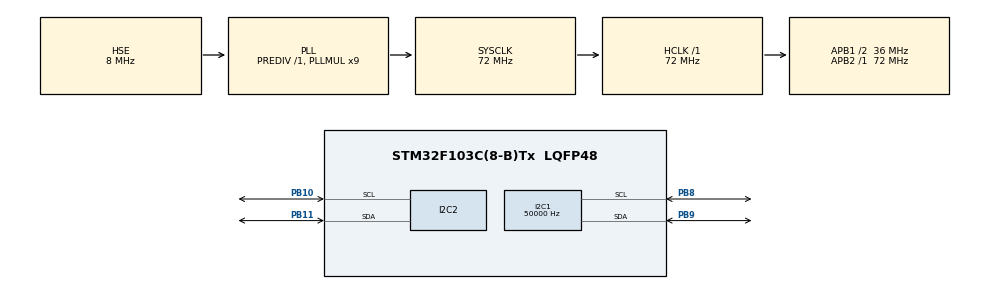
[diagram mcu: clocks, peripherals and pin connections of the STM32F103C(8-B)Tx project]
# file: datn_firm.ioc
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I2C1.ClockSpeed=50000
I2C2.I2C_Mode=I2C_Fast
Mcu.Family=STM32F1
Mcu.Name=STM32F103C(8-B)Tx
Mcu.Package=LQFP48
NVIC.PriorityGroup=NVIC_PRIORITYGROUP_4
PA13.Mode=Serial_Wire
PA13.Signal=SYS_JTMS-SWDIO
PA14.Mode=Serial_Wire
PA14.Signal=SYS_JTCK-SWCLK
PB10.Mode=I2C
PB10.Signal=I2C2_SCL
PB11.Mode=I2C
PB11.Signal=I2C2_SDA
PB8.Mode=I2C
PB8.Signal=I2C1_SCL
PB9.Mode=I2C
PB9.Signal=I2C1_SDA
PD0-OSC_IN.Mode=HSE-External-Oscillator
PD0-OSC_IN.Signal=RCC_OSC_IN
PD1-OSC_OUT.Mode=HSE-External-Oscillator
PD1-OSC_OUT.Signal=RCC_OSC_OUT
ProjectManager.HeapSize=0x200
ProjectManager.StackSize=0x400
ProjectManager.TargetToolchain=MDK-ARM V5.27
RCC.AHBFreq_Value=72000000
RCC.APB1CLKDivider=RCC_HCLK_DIV2
RCC.APB1Freq_Value=36000000
RCC.APB1TimFreq_Value=72000000
RCC.APB2Freq_Value=72000000
RCC.APB2TimFreq_Value=72000000
RCC.HCLKFreq_Value=72000000
RCC.PLLMUL=RCC_PLL_MUL9
RCC.PLLSourceVirtual=RCC_PLLSOURCE_HSE
RCC.SYSCLKFreq_VALUE=72000000
RCC.SYSCLKSource=RCC_SYSCLKSOURCE_PLLCLK
RCC.USBFreq_Value=72000000
board=custom

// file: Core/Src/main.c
/* USER CODE BEGIN Header */
/**
  ******************************************************************************
  * @file           : main.c
  * @brief          : Main program body
  ******************************************************************************
  * @attention
  *
  * <h2><center>&copy; Copyright (c) 2023 STMicroelectronics.
  * All rights reserved.</center></h2>
  *
  * This software component is licensed by ST under BSD 3-Clause license,
  * the "License"; You may not use this file except in compliance with the
  * License. You may obtain a copy of the License at:
  *                        opensource.org/licenses/BSD-3-Clause
  *
  ******************************************************************************
  */
/* USER CODE END Header */
#include "main.h"

/* USER CODE BEGIN Includes */
#include <string.h>
#include <stdio.h>
#include "ssd1306.h"
#include "fonts.h"
#include "test.h"
/* USER CODE END Includes */

/* USER CODE BEGIN PD */
#define SCD30_I2C_ADDR 0x61<<1
#define BUFF_LENGTH 20

/* USER CODE END PD */

I2C_HandleTypeDef hi2c1;
I2C_HandleTypeDef hi2c2;

/* USER CODE BEGIN PV */

uint8_t buff[BUFF_LENGTH] = {0};
HAL_StatusTypeDef ret = HAL_OK;
HAL_StatusTypeDef ret1 = HAL_BUSY;

/* USER CODE END PV */

void SystemClock_Config(void);
static void MX_GPIO_Init(void);
static void MX_I2C1_Init(void);
static void MX_I2C2_Init(void);

/* USER CODE BEGIN 0 */
typedef struct {
 float co2_concen;
	float temperature;
	float humidity;
}SCD30_t;
SCD30_t SCD30;

float convert_sensor(uint8_t* bin,uint8_t i) {
	float tempfloat;
	unsigned int tempU32;
	tempU32 = (unsigned int)((((unsigned int)bin[i]) << 24) |(((unsigned int)bin[i+1]) << 16) |(((unsigned int)bin[i+3]) << 8) |((unsigned int)bin[i+4]));
		tempfloat = *(float*)&tempU32;
    return tempfloat;
}

uint8_t * numberToString(uint16_t val){
	if (val == 0) return (uint8_t *)"0";

	static uint8_t buf[32] = {0};

	int i = 30;

	for(; val && i ; --i, val /= 10)

		buf[i] = "0123456789abcdef"[val % 10];

	return &buf[i+1];

}
/* USER CODE END 0 */

int main(void)
{

  /* MCU Configuration--------------------------------------------------------*/

  /* Reset of all peripherals, Initializes the Flash interface and the Systick. */
  HAL_Init();

  /* Configure the system clock */
  SystemClock_Config();

  /* Initialize all configured peripherals */
  MX_GPIO_Init();
  MX_I2C1_Init();
  MX_I2C2_Init();
  /* USER CODE BEGIN 2 */

	HAL_Delay(3000);
	memset(buff, 0, BUFF_LENGTH);

	buff[0] = 00;
	buff[1] = 10;
	buff[2] = 00;
	buff[3] = 00;
	buff[4] = 81;
	ret = HAL_I2C_Master_Transmit(&hi2c1, SCD30_I2C_ADDR, buff, 5, 1000);
	HAL_Delay(2500);

	memset(buff, 0, BUFF_LENGTH);
	buff[0] = 02;
	buff[1] = 02;
	ret = HAL_I2C_Master_Transmit(&hi2c1, SCD30_I2C_ADDR, buff, 2, 1000);

	for(uint8_t i = 0; i < 5; i++)
	{
		memset(buff, 0, BUFF_LENGTH);
		ret = HAL_I2C_Master_Receive(&hi2c1, SCD30_I2C_ADDR, buff, 3, 1000);
		if ((buff[1] ==  0x01)) break;
		HAL_Delay(1500);
	}

	if (buff[1] == 0x01)
	{
		memset(buff, 0, BUFF_LENGTH);
		buff[0] = 03;
		buff[1] = 00;
		ret = HAL_I2C_Master_Transmit(&hi2c1, SCD30_I2C_ADDR, buff, 2, 1000);
		HAL_Delay(400);

		memset(buff, 0, BUFF_LENGTH);
		ret = HAL_I2C_Master_Receive(&hi2c1, SCD30_I2C_ADDR, buff, 18, 1000);
	}

	SCD30.co2_concen = convert_sensor(buff,0);
	SCD30.temperature = convert_sensor(buff,6);
	SCD30.humidity = convert_sensor(buff,12);

	memset(buff,0,BUFF_LENGTH);
	//sprintf(buff,"%f",SCD30.co2_concen);
		buff[0] = SCD30.co2_concen;

	SSD1306_Init (); // initialize the display
  SSD1306_GotoXY (5,3);
	SSD1306_Puts ("CO2:", &Font_11x18, 1);
	SSD1306_GotoXY (46, 3);
	SSD1306_Puts ((char *)numberToString(SCD30.co2_concen), &Font_11x18, 1);
	SSD1306_GotoXY (90,3);
	SSD1306_Puts ("ppm", &Font_11x18, 1);
	SSD1306_GotoXY (5,22);
	SSD1306_Puts ("T:", &Font_11x18, 1);
	SSD1306_GotoXY (30, 22);
	SSD1306_Puts ((char *)numberToString(SCD30.temperature), &Font_11x18, 1);
	SSD1306_GotoXY (50,18);
	SSD1306_Puts ("o", &Font_7x10, 1);
	SSD1306_GotoXY (60, 22);
	SSD1306_Puts ("C", &Font_11x18, 1);
	SSD1306_GotoXY (5,42);
	SSD1306_Puts ("H:", &Font_11x18, 1);
	SSD1306_GotoXY (30, 42);
	SSD1306_Puts ((char *)numberToString(SCD30.humidity), &Font_11x18, 1);
	SSD1306_GotoXY (50,42);
	SSD1306_Puts ("%", &Font_11x18, 1);
	SSD1306_UpdateScreen(); // update screen

HAL_Delay(2000);

  /* USER CODE END 2 */

  /* Infinite loop */
  while (1)
  {

  }
}

void SystemClock_Config(void)
{
  RCC_OscInitTypeDef RCC_OscInitStruct = {0};
  RCC_ClkInitTypeDef RCC_ClkInitStruct = {0};

  /** Initializes the RCC Oscillators according to the specified parameters
  * in the RCC_OscInitTypeDef structure.
  */
  RCC_OscInitStruct.OscillatorType = RCC_OSCILLATORTYPE_HSE;
  RCC_OscInitStruct.HSEState = RCC_HSE_ON;
  RCC_OscInitStruct.HSEPredivValue = RCC_HSE_PREDIV_DIV1;
  RCC_OscInitStruct.HSIState = RCC_HSI_ON;
  RCC_OscInitStruct.PLL.PLLState = RCC_PLL_ON;
  RCC_OscInitStruct.PLL.PLLSource = RCC_PLLSOURCE_HSE;
  RCC_OscInitStruct.PLL.PLLMUL = RCC_PLL_MUL9;
  if (HAL_RCC_OscConfig(&RCC_OscInitStruct) != HAL_OK)
  {
    Error_Handler();
  }
  /** Initializes the CPU, AHB and APB buses clocks
  */
  RCC_ClkInitStruct.ClockType = RCC_CLOCKTYPE_HCLK|RCC_CLOCKTYPE_SYSCLK
                              |RCC_CLOCKTYPE_PCLK1|RCC_CLOCKTYPE_PCLK2;
  RCC_ClkInitStruct.SYSCLKSource = RCC_SYSCLKSOURCE_PLLCLK;
  RCC_ClkInitStruct.AHBCLKDivider = RCC_SYSCLK_DIV1;
  RCC_ClkInitStruct.APB1CLKDivider = RCC_HCLK_DIV2;
  RCC_ClkInitStruct.APB2CLKDivider = RCC_HCLK_DIV1;

  if (HAL_RCC_ClockConfig(&RCC_ClkInitStruct, FLASH_LATENCY_2) != HAL_OK)
  {
    Error_Handler();
  }
}

static void MX_I2C1_Init(void)
{

  hi2c1.Instance = I2C1;
  hi2c1.Init.ClockSpeed = 50000;
  hi2c1.Init.DutyCycle = I2C_DUTYCYCLE_2;
  hi2c1.Init.OwnAddress1 = 0;
  hi2c1.Init.AddressingMode = I2C_ADDRESSINGMODE_7BIT;
  hi2c1.Init.DualAddressMode = I2C_DUALADDRESS_DISABLE;
  hi2c1.Init.OwnAddress2 = 0;
  hi2c1.Init.GeneralCallMode = I2C_GENERALCALL_DISABLE;
  hi2c1.Init.NoStretchMode = I2C_NOSTRETCH_DISABLE;
  if (HAL_I2C_Init(&hi2c1) != HAL_OK)
  {
    Error_Handler();
  }

}

static void MX_I2C2_Init(void)
{

  hi2c2.Instance = I2C2;
  hi2c2.Init.ClockSpeed = 400000;
  hi2c2.Init.DutyCycle = I2C_DUTYCYCLE_2;
  hi2c2.Init.OwnAddress1 = 0;
  hi2c2.Init.AddressingMode = I2C_ADDRESSINGMODE_7BIT;
  hi2c2.Init.DualAddressMode = I2C_DUALADDRESS_DISABLE;
  hi2c2.Init.OwnAddress2 = 0;
  hi2c2.Init.GeneralCallMode = I2C_GENERALCALL_DISABLE;
  hi2c2.Init.NoStretchMode = I2C_NOSTRETCH_DISABLE;
  if (HAL_I2C_Init(&hi2c2) != HAL_OK)
  {
    Error_Handler();
  }

}

static void MX_GPIO_Init(void)
{

  /* GPIO Ports Clock Enable */
  __HAL_RCC_GPIOD_CLK_ENABLE();
  __HAL_RCC_GPIOB_CLK_ENABLE();
  __HAL_RCC_GPIOA_CLK_ENABLE();

}

void Error_Handler(void)
{
}

/************************ (C) COPYRIGHT STMicroelectronics *****END OF FILE****/
